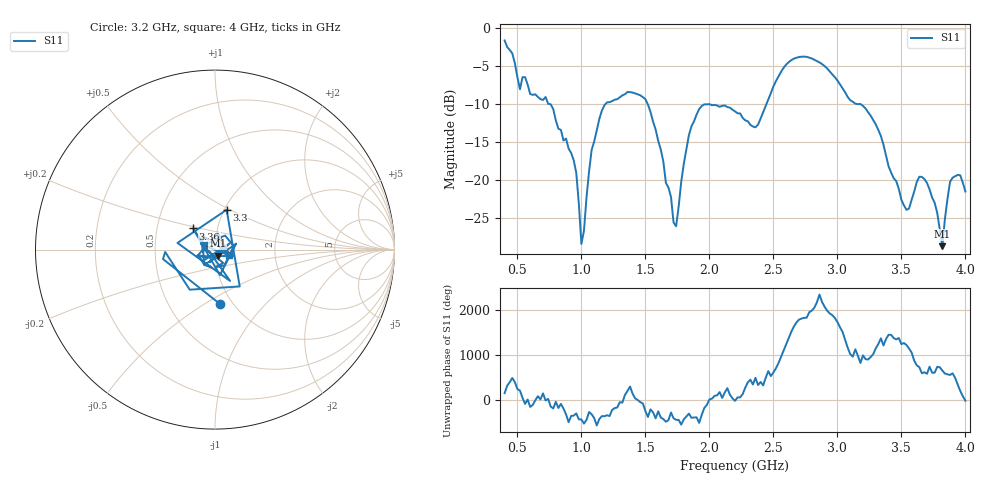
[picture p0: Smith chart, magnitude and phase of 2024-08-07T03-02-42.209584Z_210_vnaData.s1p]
!Created with skrf (http://scikit-rf.org).
# Hz S RI R 50.0
!freq ReS11 ImS11
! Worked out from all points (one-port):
!   181 points, 400 MHz to 4 GHz, reference 50 ohm
!   lowest |S11| = -28.7 dB at 3.82 GHz (marker M1), VSWR 1.08, Z = 51.4 - j3.43 ohm
!   |S11| at or under -10 dB: 740.4 MHz to 1.19 GHz (449.8 MHz wide, 46.6 % of centre); 1.517 GHz to 2.447 GHz (929.5 MHz wide, 46.9 % of centre); 3.143 GHz to end of sweep
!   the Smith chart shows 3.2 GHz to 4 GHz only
!   S11 on the Smith chart (normalised r, x): 3.2 GHz: 0.88, -0.59; 3.3 GHz: 1.02, +0.48; 3.36 GHz: 0.76, +0.18; 4 GHz: 1.17, -0.07
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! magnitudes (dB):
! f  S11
! 400 MHz  -1.7
! 520 MHz  -8.1
! 720 MHz  -9.1
! 860 MHz  -14.8
! 960 MHz  -19.1
! 1 GHz  -28.5
! 1.08 GHz  -16.1
! 1.14 GHz  -12.0
! 1.3 GHz  -9.1
! 1.5 GHz  -9.4
! 1.62 GHz  -16.0
! 1.72 GHz  -25.6
! 1.76 GHz  -23.5
! 1.84 GHz  -14.1
! 1.92 GHz  -10.7
! 2.2 GHz  -11.0
! 2.36 GHz  -13.1
! 2.66 GHz  -4.1
! 2.88 GHz  -4.8
! 3.1 GHz  -9.5
! 3.2 GHz  -10.3
! 3.3 GHz  -12.7
! 3.36 GHz  -15.4
! 3.56 GHz  -23.8
! 3.68 GHz  -19.9
! 3.82 GHz  -28.7
! 3.88 GHz  -20.3
! 4 GHz  -21.5
